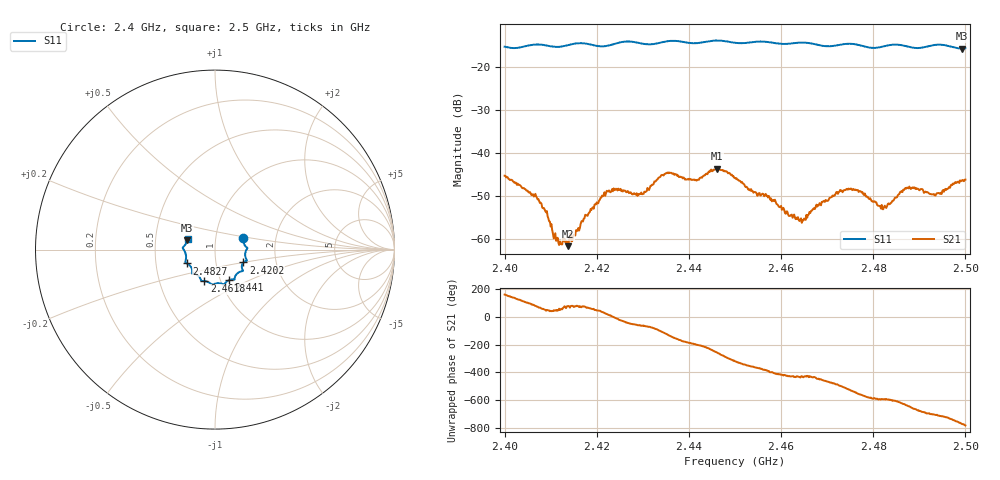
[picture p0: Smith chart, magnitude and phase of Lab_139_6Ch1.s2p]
# Hz S RI R 50
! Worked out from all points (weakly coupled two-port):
!   601 points, 2.4 GHz to 2.5 GHz, reference 50 ohm
!   highest |S21| = -43.66 dB at 2.446 GHz (marker M1); lowest = -61.7 dB at 2.4137 GHz (marker M2)
!   lowest |S11| = -15.8 dB at 2.4993 GHz (marker M3), VSWR 1.39, Z = 36.5 + j3.85 ohm
!   |S11| at or under -10 dB: start of sweep to end of sweep
!   S12 and S22 are empty: the file has one direction only
!   S11 on the Smith chart (normalised r, x): 2.4 GHz: 1.36, +0.18; 2.4202 GHz: 1.36, -0.20; 2.441 GHz: 1.10, -0.39; 2.4618 GHz: 0.84, -0.30; 2.4827 GHz: 0.72, -0.11; 2.5 GHz: 0.73, +0.09
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2.4e9  0.1587 0.0631  -0.00521 0.00155  0 0  0 0
2.407e9  0.1808 0.00871  0.000734 0.00293  0 0  0 0
2.411167e9  0.1687 -0.0182  0.0006 0.000743  0 0  0 0
2.413667e9  0.1715 -0.0461  0.000152 0.000813  0 0  0 0
2.416667e9  0.1772 -0.0611  0.000498 0.00152  0 0  0 0
2.420167e9  0.1586 -0.0715  0.00173 0.00192  0 0  0 0
2.423833e9  0.1508 -0.1053  0.00369 -0.000192  0 0  0 0
2.430333e9  0.1333 -0.1261  0.00149 -0.00322  0 0  0 0
2.433333e9  0.1115 -0.1507  -0.000319 -0.00507  0 0  0 0
2.441e9  0.0786 -0.1698  -0.00475 0.0011  0 0  0 0
2.446e9  0.0498 -0.1951  -0.00178 0.00631  0 0  0 0
2.45e9  0.0285 -0.1875  0.00387 0.00334  0 0  0 0
2.461833e9  -0.0593 -0.1754  0.000741 -0.0017  0 0  0 0
2.464333e9  -0.0748 -0.1751  0.000614 -0.00163  0 0  0 0
2.466667e9  -0.0789 -0.1683  0.000581 -0.00206  0 0  0 0
2.474667e9  -0.1268 -0.1341  -0.00371 -0.00105  0 0  0 0
2.482667e9  -0.1562 -0.0771  -0.00131 0.00195  0 0  0 0
2.483333e9  -0.1606 -0.075  -0.00145 0.00215  0 0  0 0
2.487333e9  -0.1626 -0.0563  0.000598 0.00391  0 0  0 0
2.493167e9  -0.1782 0.00541  0.00321 0.000875  0 0  0 0
2.499333e9  -0.1541 0.0514  0.00281 -0.00394  0 0  0 0
2.5e9  -0.1522 0.0608  0.00214 -0.0044  0 0  0 0
